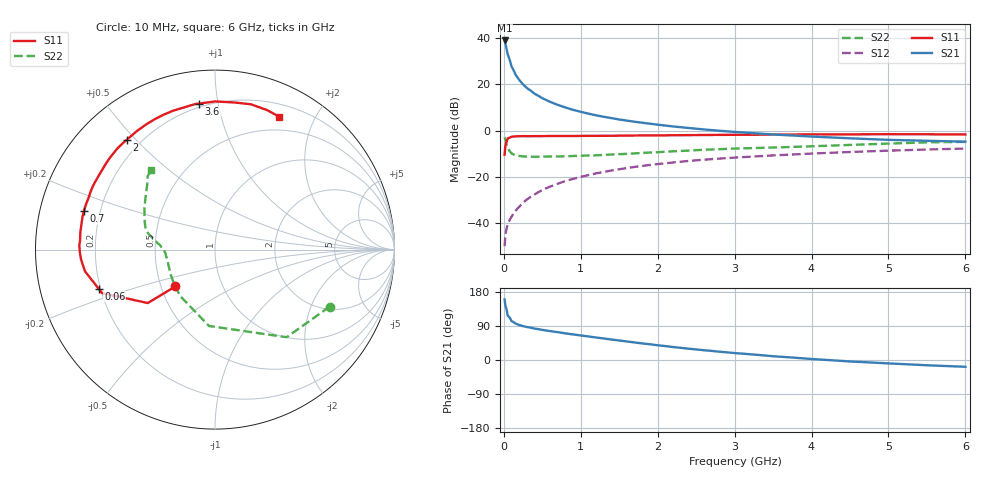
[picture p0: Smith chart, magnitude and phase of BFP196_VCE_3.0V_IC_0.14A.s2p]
! (c) 2017  Infineon Technologies AG, Munich
! Infineon Technologies  Discrete & RF Semiconductors
! BFP196
! VCE =  3.0 V,  IC = 0.14 A
! Common Emitter S-Parameters:  Jan 2017
# GHz  S  MA  R  50
!  f  S11  S21  S12  S22
! GHz  MAG  ANG  MAG  ANG  MAG  ANG  MAG  ANG
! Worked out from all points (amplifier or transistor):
!   77 points, 10 MHz to 6 GHz, reference 50 ohm
!   highest |S21| = 38.8 dB at 10 MHz (marker M1)
!   |S21| within 3 dB of that: start of sweep to 31.54 MHz
!   unconditionally stable (mu >= 1): 210.6 MHz to 2.893 GHz
!   at 130 MHz: K = 0.88, MSG = 30.7 dB, |S12| = -35.6 dB
!   at 2.2 GHz: K = 1.03, MAG = 6.7 dB, |S12| = -13.8 dB
!   at 6 GHz: K = 0.99, MSG = 1.5 dB, |S12| = -7.8 dB
!   S11 on the Smith chart (normalised r, x): 10 MHz: 0.59, -0.27; 60 MHz: 0.19, -0.16; 700 MHz: 0.14, +0.14; 2 GHz: 0.15, +0.47; 3.6 GHz: 0.18, +0.88; 6 GHz: 0.34, +1.54
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0.01  0.3005 -137.1  87.58 159.6  0.0032 71.9  0.7134 -26.5
0.02  0.4782 -141.5  75.47 143.2  0.0056 66.1  0.6306 -50.7
0.05  0.6746 -159.0  43.95 117.0  0.0095 53.3  0.4268 -94.5
0.06  0.6842 -161.5  39.83 115.3  0.0103 55.2  0.3973 -99.6
0.1  0.7346 -170.6  24.02 102.5  0.0138 60.3  0.323 -127.3
0.15  0.7485 -175.9  16.31 96.4  0.0185 64.4  0.2928 -142.7
0.2  0.7532 -179.0  12.31 92.3  0.0226 68.8  0.2826 -151.7
0.25  0.7565 178.3  9.871 89.3  0.0278 69.7  0.2762 -157.1
0.3  0.7535 176.3  8.237 87.0  0.0325 70.6  0.2734 -161.6
0.4  0.7565 172.7  6.213 82.9  0.0419 72.7  0.2717 -166.7
0.5  0.7575 169.2  4.975 79.5  0.052 72.1  0.2726 -170.2
0.7  0.7614 163.7  3.578 73.5  0.0711 71.4  0.2757 -175.1
0.9  0.761 157.9  2.792 67.5  0.0905 69.0  0.2817 -177.9
1.1  0.7668 152.4  2.313 62.1  0.1092 66.6  0.289 179.5
1.5  0.7737 141.8  1.729 51.5  0.1459 60.9  0.3087 175.1
2  0.7851 128.8  1.335 38.9  0.1887 53.3  0.3409 171.1
2.1  0.787 126.2  1.278 36.7  0.1964 51.7  0.3483 170.1
3.1  0.8087 105.1  0.908 16.8  0.2662 37.3  0.412 160.9
3.6  0.8185 96.2  0.805 8.6  0.2955 31.0  0.4346 154.8
4.1  0.8247 88.4  0.728 1.4  0.323 24.6  0.4625 147.9
5.1  0.8322 74.8  0.623 -9.9  0.3719 12.6  0.5288 135.5
6  0.8226 64.1  0.574 -17.9  0.4086 2.4  0.5688 128.9
